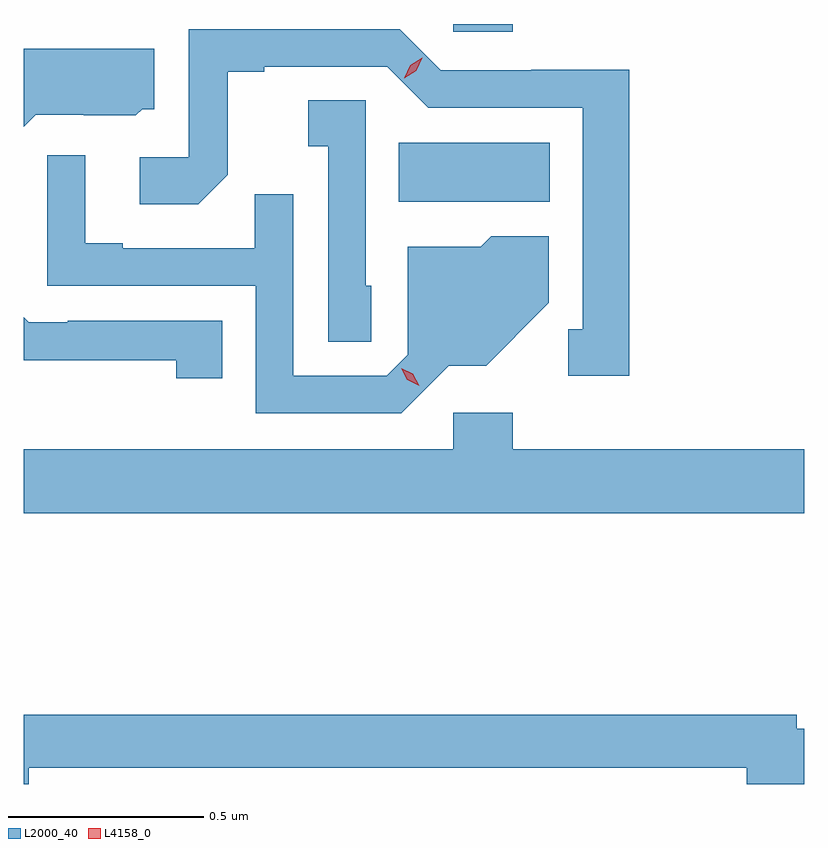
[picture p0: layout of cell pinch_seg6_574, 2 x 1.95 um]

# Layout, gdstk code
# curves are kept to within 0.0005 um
import gdstk
lib = gdstk.Library(unit=1e-6, precision=1e-09)
def R(c, l, rs):  # rectangles x0, y0, x1, y1
    for r in rs: c.add(gdstk.rectangle(r[:2], r[2:], *l))
def P(c, l, *ps):  # polygons
    for p in ps: c.add(gdstk.Polygon(p, *l))
L2000_40 = (2000, 40)
L4158_0 = (4158, 0)

pinch_seg6_574 = lib.new_cell('pinch_seg6_574')
R(pinch_seg6_574, L2000_40, [(610.894,994.754,611.281,994.906), (611.034,995.19,611.186,995.21)])
P(pinch_seg6_574, L2000_40, [(611.485,995.093),(611.234,995.093),(611.234,995.091),(611.001,995.091),(610.896,995.196),(610.356,995.196),(610.356,994.869),(610.23,994.869),(610.23,994.748),(610.38,994.748),(610.455,994.823),(610.455,995.088),(610.549,995.088),(610.549,995.1),(610.864,995.1),(610.969,994.995),(611.366,994.995),(611.366,994.428),(611.328,994.428),(611.328,994.308),(611.485,994.308)],
  [(609.963,994.977),(610.086,994.977),(610.086,994.976),(610.22,994.976),(610.236,994.992),(610.267,994.992),(610.267,995.146),(609.933,995.146),(609.933,994.947)],
  [(610.824,994.539),(610.809,994.539),(610.809,995.015),(610.662,995.015),(610.662,994.897),(610.713,994.897),(610.713,994.395),(610.824,994.395)],
  [(611.022,994.334),(611.118,994.334),(611.278,994.495),(611.278,994.666),(611.131,994.666),(611.104,994.639),(610.917,994.639),(610.917,994.362),(610.863,994.308),(610.623,994.308),(610.623,994.774),(610.525,994.774),(610.525,994.635),(610.186,994.635),(610.186,994.648),(610.09,994.648),(610.09,994.873),(609.993,994.873),(609.993,994.539),(610.527,994.539),(610.527,994.212),(610.9,994.212)],
  [(610.442,994.449),(610.045,994.449),(610.045,994.446),(609.945,994.446),(609.933,994.458),(609.933,994.348),(610.324,994.348),(610.324,994.302),(610.442,994.302)],
  [(611.933,994.12),(611.186,994.12),(611.186,994.213),(611.034,994.213),(611.034,994.12),(609.933,994.12),(609.933,993.956),(611.933,993.956)],
  [(609.946,993.304),(611.786,993.304),(611.786,993.262),(611.933,993.262),(611.933,993.404),(611.914,993.404),(611.914,993.44),(609.933,993.44),(609.933,993.262),(609.946,993.262)])
P(pinch_seg6_574, L4158_0, [(610.908,995.071),(610.908,995.071),(610.924,995.104),(610.954,995.123),(610.954,995.123),(610.954,995.123),(610.939,995.09),(610.908,995.071)],
  [(610.947,994.283),(610.916,994.298),(610.9,994.328),(610.9,994.328),(610.9,994.328),(610.93,994.313),(610.947,994.283),(610.947,994.283)])

lib.write_gds('pinch_seg6_574.gds')
